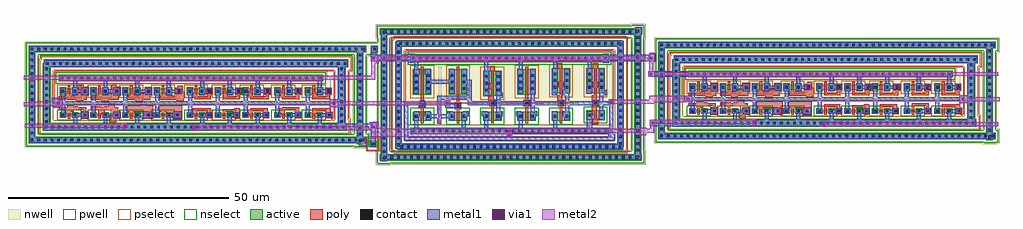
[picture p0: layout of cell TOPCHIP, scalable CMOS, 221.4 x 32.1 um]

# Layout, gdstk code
import gdstk
lib = gdstk.Library(unit=1e-6, precision=1e-09)
def R(c, l, rs):  # rectangles x0, y0, x1, y1
    for r in rs: c.add(gdstk.rectangle(r[:2], r[2:], *l))
def A(c, l, x, y, w, h, nx, ny, dx, dy):  # array of equal rectangles
    R(c, l, [(x+i*dx, y+j*dy, x+i*dx+w, y+j*dy+h) for i in range(nx) for j in range(ny)])
contact = (25, 0)
pwell = (41, 0)
nwell = (42, 0)
active = (43, 0)
pselect = (44, 0)
nselect = (45, 0)
poly = (46, 0)
metal1 = (49, 0)
via1 = (50, 0)
metal2 = (51, 0)

iopad = lib.new_cell('IOPAD')
A(iopad, contact, 48.3, -10.35, 0.6, 0.6, 1, 14, 0, 1.5)
A(iopad, contact, -26.1, -10.2, 0.6, 0.6, 51, 2, 1.5, 20.7)
A(iopad, contact, -26.1, -10.05, 0.6, 0.6, 1, 14, 0, 1.5)
A(iopad, contact, -22.95, -7.2, 0.6, 0.6, 46, 1, 1.5, 0)
A(iopad, contact, -22.8, -6, 0.6, 0.6, 1, 9, 0, 1.5)
A(iopad, contact, 44.1, -6, 0.6, 0.6, 1, 9, 0, 1.5)
A(iopad, contact, 25.05, 0.9, 0.6, 0.6, 3, 1, 2.25, 0)
A(iopad, contact, -19.35, 3.9, 0.6, 0.6, 40, 1, 1.5, 0)
A(iopad, contact, -22.65, 7.2, 0.6, 0.6, 46, 1, 1.5, 0)
R(iopad, contact, [(-19.05,-4.5,-18.45,-3.9), (-16.35,-4.5,-15.75,-3.9), (-14.1,-4.5,-13.5,-3.9), (-12.15,-4.5,-11.55,-3.9), (-9.45,-4.5,-8.85,-3.9), (-6.9,-4.5,-6.3,-3.9), (-4.95,-4.5,-4.35,-3.9), (-2.25,-4.5,-1.65,-3.9), (0.3,-4.5,0.9,-3.9), (2.25,-4.5,2.85,-3.9), (4.95,-4.5,5.55,-3.9), (6.9,-4.5,7.5,-3.9), (9.75,-4.5,10.35,-3.9), (12.45,-4.5,13.05,-3.9), (14.1,-4.5,14.7,-3.9), (16.05,-4.5,16.65,-3.9), (18.75,-4.5,19.35,-3.9), (20.4,-4.5,21,-3.9), (22.35,-4.5,22.95,-3.9), (25.05,-4.5,25.65,-3.9), (27,-4.5,27.6,-3.9), (29.55,-4.5,30.15,-3.9), (32.25,-4.5,32.85,-3.9), (34.2,-4.5,34.8,-3.9), (36.45,-4.5,37.05,-3.9), (39.15,-4.5,39.75,-3.9), (41.4,-4.5,42,-3.9), (-19.05,0.9,-18.45,1.5), (-16.35,0.9,-15.75,1.5), (-14.1,0.9,-13.5,1.5), (-12.15,0.9,-11.55,1.5), (-9.45,0.9,-8.85,1.5), (-6.9,0.9,-6.3,1.5), (-4.95,0.9,-4.35,1.5), (-2.25,0.9,-1.65,1.5), (0.3,0.9,0.9,1.5), (2.25,0.9,2.85,1.5), (4.95,0.9,5.55,1.5), (7.2,0.9,7.8,1.5), (9.75,0.9,10.35,1.5), (12.45,0.9,13.05,1.5), (14.1,0.9,14.7,1.5), (16.05,0.9,16.65,1.5), (18.75,0.9,19.35,1.5), (20.7,0.9,21.3,1.5), (22.35,0.9,22.95,1.5), (32.25,0.9,32.85,1.5), (34.2,0.9,34.8,1.5), (36.45,0.9,37.05,1.5), (39.15,0.9,39.75,1.5), (41.1,0.9,41.7,1.5)])
A(iopad, pwell, -10.8, -7.5, 0.6, 3.6, 3, 1, 7.2, 0)
A(iopad, pwell, 11.1, -7.2, 0.6, 3.3, 3, 1, 6.3, 0)
A(iopad, pwell, -14.4, -6.6, 7.8, 4.8, 3, 1, 7.2, 0)
A(iopad, pwell, 7.5, -6.6, 7.8, 4.8, 3, 1, 6.3, 0)
R(iopad, pwell, [(-24.3,-8.7,46.5,-5.1), (-24.3,-7.8,-20.7,8.4), (42.6,-7.8,46.2,8.4), (-17.7,-7.5,-17.1,-3.9), (30.9,-7.2,31.5,-3.9), (37.8,-7.2,38.4,-3.9), (-21.3,-6.6,-13.5,-1.8), (27.3,-6.6,35.1,-1.8), (34.2,-6.6,42,-1.8), (-24,5.7,46.8,9.3)])
A(iopad, nwell, -14.4, -1.5, 7.8, 5.4, 3, 1, 7.2, 0)
A(iopad, nwell, 7.5, -1.5, 7.8, 5.4, 3, 1, 6.3, 0)
A(iopad, nwell, -10.8, 0.9, 0.6, 3.6, 3, 1, 7.2, 0)
A(iopad, nwell, 11.1, 0.9, 0.6, 3.6, 3, 1, 6.3, 0)
R(iopad, nwell, [(46.95,-11.7,50.25,11.1), (-27.45,-11.55,50.85,-8.25), (-27.45,-11.4,-24.15,11.4), (-21.3,-1.5,-13.5,3.9), (27.3,-1.5,35.1,3.9), (34.2,-1.5,42,3.9), (-17.7,0.9,-17.1,4.5), (30.9,0.9,31.5,4.5), (37.8,0.9,38.4,4.5), (-20.7,2.55,41.1,5.85), (-27.45,9.15,50.85,12.45)])
A(iopad, active, -11.7, -4.5, 2.4, 0.6, 3, 1, 7.2, 0)
A(iopad, active, 10.2, -4.5, 2.4, 0.6, 3, 1, 6.3, 0)
A(iopad, active, -11.7, 0.6, 2.4, 1.2, 3, 1, 7.2, 0)
A(iopad, active, 10.2, 0.6, 2.4, 1.2, 3, 1, 6.3, 0)
R(iopad, active, [(47.85,-10.8,49.35,10.2), (-26.55,-10.65,49.95,-9.15), (-26.55,-10.5,-25.05,10.5), (-23.4,-7.8,45.6,-6), (-23.4,-6.9,-21.6,7.5), (43.5,-6.9,45.3,7.5), (-19.5,-4.8,-18,-3.6), (-16.8,-4.8,-15.3,-3.6), (-12.6,-4.8,-11.1,-3.6), (-9.9,-4.8,-8.4,-3.6), (-5.4,-4.8,-3.9,-3.6), (-2.7,-4.8,-1.2,-3.6), (1.8,-4.8,3.3,-3.6), (4.5,-4.8,6,-3.6), (9.3,-4.8,10.8,-3.6), (12,-4.8,13.5,-3.6), (15.6,-4.8,17.1,-3.6), (18.3,-4.8,19.8,-3.6), (21.9,-4.8,23.4,-3.6), (24.6,-4.8,26.1,-3.6), (29.1,-4.8,30.6,-3.6), (31.8,-4.8,33.3,-3.6), (36,-4.8,37.5,-3.6), (38.7,-4.8,40.2,-3.6), (-18.6,-4.5,-16.2,-3.9), (30,-4.5,32.4,-3.9), (36.9,-4.5,39.3,-3.9), (-19.5,0.3,-18,2.1), (-16.8,0.3,-15.3,2.1), (-12.6,0.3,-11.1,2.1), (-9.9,0.3,-8.4,2.1), (-5.4,0.3,-3.9,2.1), (-2.7,0.3,-1.2,2.1), (1.8,0.3,3.3,2.1), (4.5,0.3,6,2.1), (9.3,0.3,10.8,2.1), (12,0.3,13.5,2.1), (15.6,0.3,17.1,2.1), (18.3,0.3,19.8,2.1), (21.9,0.3,23.4,2.1), (24.6,0.3,26.1,2.1), (29.1,0.3,30.6,2.1), (31.8,0.3,33.3,2.1), (36,0.3,37.5,2.1), (38.7,0.3,40.2,2.1), (-18.6,0.6,-16.2,1.8), (30,0.6,32.4,1.8), (36.9,0.6,39.3,1.8), (-19.8,3.45,40.2,4.95), (-23.1,6.6,45.9,8.4), (-26.55,10.05,49.95,11.55)])
A(iopad, pselect, -13.2, -0.3, 5.4, 3, 3, 1, 7.2, 0)
A(iopad, pselect, 8.7, -0.3, 5.4, 3, 3, 1, 6.3, 0)
R(iopad, pselect, [(-24,-8.4,46.2,-5.4), (-24,-7.5,-21,8.1), (42.9,-7.5,45.9,8.1), (-20.1,-0.3,-14.7,2.7), (28.5,-0.3,33.9,2.7), (35.4,-0.3,40.8,2.7), (-23.7,6,46.5,9)])
A(iopad, nselect, -13.2, -5.4, 5.4, 2.4, 3, 1, 7.2, 0)
A(iopad, nselect, 8.7, -5.4, 5.4, 2.4, 3, 1, 6.3, 0)
R(iopad, nselect, [(47.25,-11.4,49.95,10.8), (-27.15,-11.25,50.55,-8.55), (-27.15,-11.1,-24.45,11.1), (-20.1,-5.4,-14.7,-3), (28.5,-5.4,33.9,-3), (35.4,-5.4,40.8,-3), (-20.4,2.85,40.8,5.55), (-27.15,9.45,50.55,12.15)])
A(iopad, poly, -10.8, -5.1, 0.6, 1.8, 3, 1, 7.2, 0)
A(iopad, poly, 11.1, -5.1, 0.6, 1.8, 3, 1, 6.3, 0)
A(iopad, poly, 26.55, -4.95, 1.5, 1.5, 3, 1, 7.2, 0)
A(iopad, poly, 27, -4.8, 0.6, 0.9, 3, 1, 7.2, 0)
A(iopad, poly, -10.8, -3.45, 0.6, 1.05, 3, 2, 7.2, 2.85)
A(iopad, poly, 11.1, -0.6, 0.6, 1.05, 3, 1, 6.3, 0)
A(iopad, poly, -10.8, 0, 0.6, 2.4, 3, 1, 7.2, 0)
A(iopad, poly, 11.1, 0, 0.6, 2.4, 3, 1, 6.3, 0)
A(iopad, poly, 13.65, 0.45, 1.5, 1.5, 3, 1, 6.6, 0)
R(iopad, poly, [(-8.25,-5.85,-6.75,-4.35), (6.15,-5.25,8.25,-3.15), (-17.7,-5.1,-17.1,-3.3), (-14.7,-5.1,-12.9,-3.3), (-7.5,-5.1,-5.7,-3.3), (-0.45,-5.1,1.65,-3.3), (20.4,-5.1,21,-2.85), (20.4,-5.1,21,-3.9), (30.9,-5.1,31.5,-3.3), (37.8,-5.1,38.4,-3.3), (13.65,-4.95,15.15,-3.45), (19.95,-4.95,21.45,-3.45), (-14.1,-4.8,-13.5,-2.4), (-14.1,-4.8,-13.5,-3.9), (14.1,-4.8,14.7,-2.7), (14.1,-4.8,14.7,-3.9), (27,-4.8,27.6,-2.7), (34.2,-4.8,34.8,-2.4), (41.4,-4.8,42,-2.7), (-6.9,-4.5,-6.3,-2.4), (0.6,-4.5,1.2,-2.4), (7.2,-4.5,7.8,-2.4), (20.1,-3.9,21.3,-2.7), (-17.85,-3.45,-16.35,-1.95), (-17.7,-3.45,-17.1,-2.4), (-4.05,-3.45,1.65,-1.95), (-1.8,-3.45,0,-2.55), (3.15,-3.45,8.25,-1.95), (5.7,-3.45,7.5,-2.55), (11.1,-3.45,11.7,-2.7), (17.4,-3.45,21,-2.85), (23.7,-3.45,24.3,-2.7), (30.9,-3.45,31.5,-2.4), (37.8,-3.45,38.4,-2.7), (11.1,-3.3,14.7,-2.7), (23.7,-3.3,27.6,-2.7), (37.8,-3.3,42,-2.7), (-17.1,-3.15,-15.3,-2.25), (-12.45,-3.15,-10.05,-2.25), (-9.6,-3.15,-7.8,-2.25), (-8.55,-3.15,-7.05,-1.65), (-4.65,-3.15,-2.85,-2.25), (2.85,-3.15,4.35,-2.25), (-19.8,-3,-17.1,-2.4), (-19.8,-3,-13.5,-2.4), (-10.8,-3,-6.3,-2.4), (30.9,-3,34.8,-2.4), (-10.05,-1.35,-8.55,0.15), (-2.25,-1.35,-0.75,0.15), (-15.75,-1.05,-14.25,0.45), (7.05,-1.05,8.55,0.45), (-17.85,-0.75,-13.35,0.15), (-16.8,-0.75,-15,0.15), (-12.45,-0.75,-10.05,0.15), (-10.95,-0.75,-6.15,0.15), (-8.85,-0.75,-7.35,0.75), (-8.7,-0.75,-6.9,0.15), (-4.35,-0.75,-2.85,0.15), (-3.75,-0.75,1.05,0.15), (-1.5,-0.75,0.3,0.15), (-1.35,-0.75,0.15,0.75), (3.15,-0.75,4.35,0.15), (3.45,-0.75,7.95,0.15), (6,-0.75,7.8,0.15), (-19.8,-0.6,-17.1,0), (-17.7,-0.6,-17.1,0.45), (-14.1,-0.6,-13.5,1.5), (-6.9,-0.6,-6.3,1.8), (0.3,-0.6,0.9,1.2), (7.2,-0.6,7.8,1.5), (11.1,-0.6,14.7,0), (14.1,-0.6,14.7,1.5), (17.4,-0.6,21.3,0), (20.7,-0.6,21.3,1.2), (23.7,-0.6,27.9,0), (27.3,-0.6,27.9,1.5), (30.9,-0.6,31.5,0.45), (30.9,-0.6,34.8,0), (34.2,-0.6,34.8,1.8), (37.8,-0.6,38.4,0.45), (37.8,-0.6,41.7,0), (41.1,-0.6,41.7,1.5), (-15.45,-0.45,-13.95,1.05), (7.35,-0.45,8.85,1.05), (7.2,-0.3,8.4,0.9), (-17.7,0,-17.1,2.4), (30.9,0,31.5,2.4), (37.8,0,38.4,2.4), (-14.7,0.15,-12.9,2.25), (-7.5,0.15,-5.7,2.25), (-0.3,0.3,1.5,2.1), (6.6,0.45,8.4,1.95), (33.75,0.45,35.25,1.95), (40.65,0.45,42.15,1.95), (20.7,0.6,21.3,1.5), (-6.9,0.9,-6.3,1.8), (14.1,0.9,14.7,1.8), (34.2,0.9,34.8,1.8), (41.1,0.9,41.7,1.8), (7.2,1.2,8.4,2.4)])
A(iopad, metal1, -9.6, -7.65, 0.9, 3.9, 3, 2, 7.2, 8.4)
A(iopad, metal1, 12.3, -7.35, 0.9, 3.6, 3, 1, 6.3, 0)
A(iopad, metal1, 26.7, -4.8, 1.2, 1.2, 3, 1, 7.2, 0)
A(iopad, metal1, -12.3, -4.65, 0.9, 3.6, 3, 2, 7.2, 2.7)
A(iopad, metal1, 9.6, -4.65, 0.9, 3.6, 3, 2, 6.3, 2.7)
A(iopad, metal1, 13.8, 0.6, 1.2, 1.2, 3, 1, 6.6, 0)
A(iopad, metal1, 12.3, 0.75, 0.9, 3.9, 3, 1, 6.3, 0)
R(iopad, metal1, [(48,-10.65,49.2,10.05), (-26.4,-10.5,49.8,-9.3), (-26.4,-10.35,-25.2,10.35), (-26.25,-10.35,-25.35,-9.45), (48.15,-10.35,49.05,-9.45), (-23.1,-7.8,-21.9,0.9), (-23.1,-7.8,-21.9,0.9), (10.5,-7.8,11.7,-6.6), (-23.25,-7.65,45.45,-6.15), (-16.5,-7.65,-15.6,-3.75), (-5.25,-7.65,-4.35,-6.15), (-5.25,-7.65,-4.35,-6.15), (10.65,-7.65,11.55,-6.75), (43.8,-7.5,45,0.9), (32.1,-7.35,33,-3.75), (39,-7.35,39.9,-3.75), (-5.4,-7.2,-4.2,-6), (-5.4,-7.2,-4.2,-6), (-23.25,-6.75,-21.75,7.35), (43.65,-6.75,45.15,7.35), (-0.9,-5.1,0.3,-3.9), (6.3,-5.1,8.1,-3.3), (-14.55,-4.95,-13.05,-3.45), (-7.35,-4.95,-5.85,-3.45), (-0.3,-4.95,1.5,-3.45), (13.8,-4.8,15,-3.6), (20.1,-4.8,21.3,-3.6), (-19.35,-4.65,-18.15,-3.75), (-19.2,-4.65,-18.3,-1.05), (-16.65,-4.65,-15.45,-3.75), (-16.5,-4.65,-13.35,-3.75), (-12.45,-4.65,-11.25,-3.75), (-9.75,-4.65,-8.55,-3.75), (-5.25,-4.65,-4.05,-3.75), (-2.55,-4.65,-1.35,-3.75), (-2.4,-4.65,1.35,-3.75), (1.95,-4.65,3.15,-3.75), (4.65,-4.65,5.85,-3.75), (4.8,-4.65,7.95,-3.75), (9.45,-4.65,10.65,-3.75), (12.15,-4.65,13.35,-3.75), (12.3,-4.65,14.85,-3.75), (15.75,-4.65,16.95,-3.75), (18.45,-4.65,19.65,-3.75), (18.6,-4.65,21.15,-3.75), (22.05,-4.65,23.25,-3.75), (24.75,-4.65,25.95,-3.75), (24.9,-4.65,27.75,-3.75), (29.25,-4.65,30.45,-3.75), (29.4,-4.65,30.3,-1.05), (31.95,-4.65,33.15,-3.75), (32.1,-4.65,34.95,-3.75), (36.15,-4.65,37.35,-3.75), (36.3,-4.65,37.2,-1.05), (38.85,-4.65,40.05,-3.75), (39,-4.65,42.15,-3.75), (-9.45,-4.5,-6.3,-3.9), (-0.9,-4.5,0.3,-3.3), (41.7,-2.4,43.5,-0.6), (-20.7,-2.25,-18.9,-0.75), (-20.25,-1.95,-18.3,-1.05), (-20.25,-1.95,-19.35,-1.05), (-19.2,-1.95,-18.3,1.65), (-19.2,-1.95,-11.4,-1.05), (-12.3,-1.95,-4.2,-1.05), (-5.1,-1.95,2.25,-1.05), (1.35,-1.95,3,-1.05), (2.1,-1.95,6.45,-1.05), (5.55,-1.95,10.5,-1.05), (9.6,-1.95,16.8,-1.05), (15.9,-1.95,23.1,-1.05), (22.2,-1.95,30.3,-1.05), (29.4,-1.95,30.3,1.65), (29.4,-1.95,37.2,-1.05), (36.3,-1.95,37.2,1.65), (36.3,-1.95,43.05,-1.05), (48,-0.9,49.2,11.4), (-26.4,-0.6,-25.2,11.4), (-23.1,-0.3,-21.9,8.1), (-23.1,-0.3,-21.9,8.1), (43.8,-0.3,45,8.1), (-14.55,0.3,-13.05,2.1), (-7.35,0.3,-5.85,2.1), (-19.35,0.45,-18.15,1.95), (-16.65,0.45,-15.45,1.95), (-12.45,0.45,-11.25,1.95), (-9.75,0.45,-8.55,1.95), (-5.25,0.45,-4.05,1.95), (-2.55,0.45,-1.35,1.95), (-0.15,0.45,1.35,1.95), (1.95,0.45,3.15,1.95), (4.65,0.45,5.85,1.95), (9.45,0.45,10.65,1.95), (12.15,0.45,13.35,1.95), (15.75,0.45,16.95,1.95), (18.45,0.45,19.65,1.95), (22.05,0.45,23.25,1.95), (24.75,0.45,25.95,1.95), (29.25,0.45,30.45,1.95), (31.95,0.45,33.15,1.95), (36.15,0.45,37.35,1.95), (38.85,0.45,40.05,1.95), (6.75,0.6,8.25,1.8), (33.9,0.6,35.1,1.8), (40.8,0.6,42,1.8), (-16.5,0.75,-15.6,4.65), (-16.5,0.75,-13.35,1.65), (-9.6,0.75,-6.15,1.65), (12.3,0.75,14.85,1.65), (18.6,0.75,21.45,1.65), (32.1,0.75,33,4.65), (32.1,0.75,34.95,1.65), (39,0.75,39.9,4.65), (39,0.75,41.85,1.65), (-2.25,0.9,0.9,1.5), (4.95,0.9,7.8,1.5), (25.05,0.9,27.9,1.5), (-26.4,3.6,-25.2,4.8), (-26.4,3.6,-25.2,4.8), (-19.65,3.6,40.05,4.8), (-19.65,3.6,40.05,4.8), (-19.65,3.6,40.05,4.8), (-26.25,3.75,-25.35,4.65), (-26.25,3.75,-25.35,4.65), (9.75,3.75,10.65,4.65), (9.75,3.75,10.65,4.65), (-22.95,6.75,45.75,8.25), (-18.9,6.9,-8.7,8.1), (-26.4,10.2,49.8,11.4)])
R(iopad, via1, [(10.8,-7.5,11.4,-6.9), (-5.1,-6.9,-4.5,-6.3), (-5.1,-6.9,-4.5,-6.3), (-20.1,-1.8,-19.5,-1.2), (42.3,-1.8,42.9,-1.2), (-26.1,3.9,-25.5,4.5), (-26.1,3.9,-25.5,4.5), (-19.35,3.9,-18.75,4.5), (-19.35,3.9,-18.75,4.5), (-17.85,3.9,-17.25,4.5), (-17.85,3.9,-17.25,4.5), (-16.35,3.9,-15.75,4.5), (-16.35,3.9,-15.75,4.5), (-14.85,3.9,-14.25,4.5), (-14.85,3.9,-14.25,4.5), (-13.35,3.9,-12.75,4.5), (-13.35,3.9,-12.75,4.5), (-11.85,3.9,-11.25,4.5), (-11.85,3.9,-11.25,4.5), (-10.35,3.9,-9.75,4.5), (-10.35,3.9,-9.75,4.5), (-8.85,3.9,-8.25,4.5), (-8.85,3.9,-8.25,4.5), (-7.35,3.9,-6.75,4.5), (-7.35,3.9,-6.75,4.5), (-5.85,3.9,-5.25,4.5), (-5.85,3.9,-5.25,4.5), (-4.35,3.9,-3.75,4.5), (-4.35,3.9,-3.75,4.5), (-2.85,3.9,-2.25,4.5), (-2.85,3.9,-2.25,4.5), (-1.35,3.9,-0.75,4.5), (-1.35,3.9,-0.75,4.5), (0.15,3.9,0.75,4.5), (0.15,3.9,0.75,4.5), (1.65,3.9,2.25,4.5), (1.65,3.9,2.25,4.5), (3.15,3.9,3.75,4.5), (3.15,3.9,3.75,4.5), (4.65,3.9,5.25,4.5), (4.65,3.9,5.25,4.5), (6.15,3.9,6.75,4.5), (6.15,3.9,6.75,4.5), (7.65,3.9,8.25,4.5), (7.65,3.9,8.25,4.5), (9.15,3.9,9.75,4.5), (9.15,3.9,9.75,4.5), (10.65,3.9,11.25,4.5), (10.65,3.9,11.25,4.5), (12.15,3.9,12.75,4.5), (12.15,3.9,12.75,4.5), (13.65,3.9,14.25,4.5), (13.65,3.9,14.25,4.5), (15.15,3.9,15.75,4.5), (15.15,3.9,15.75,4.5), (16.65,3.9,17.25,4.5), (16.65,3.9,17.25,4.5), (18.15,3.9,18.75,4.5), (18.15,3.9,18.75,4.5), (19.65,3.9,20.25,4.5), (19.65,3.9,20.25,4.5), (21.15,3.9,21.75,4.5), (21.15,3.9,21.75,4.5), (22.65,3.9,23.25,4.5), (22.65,3.9,23.25,4.5), (24.15,3.9,24.75,4.5), (24.15,3.9,24.75,4.5), (25.65,3.9,26.25,4.5), (25.65,3.9,26.25,4.5), (27.15,3.9,27.75,4.5), (27.15,3.9,27.75,4.5), (28.65,3.9,29.25,4.5), (28.65,3.9,29.25,4.5), (30.15,3.9,30.75,4.5), (30.15,3.9,30.75,4.5), (31.65,3.9,32.25,4.5), (31.65,3.9,32.25,4.5), (33.15,3.9,33.75,4.5), (33.15,3.9,33.75,4.5), (34.65,3.9,35.25,4.5), (34.65,3.9,35.25,4.5), (36.15,3.9,36.75,4.5), (36.15,3.9,36.75,4.5), (37.65,3.9,38.25,4.5), (37.65,3.9,38.25,4.5), (39.15,3.9,39.75,4.5), (39.15,3.9,39.75,4.5)])
R(iopad, metal2, [(10.5,-7.8,11.7,-6.6), (10.65,-7.65,50.55,-6.75), (49.65,-7.65,50.55,-6.75), (-5.4,-7.2,-4.2,-6), (-5.4,-7.2,-4.2,-6), (-27.45,-7.05,-26.55,-6.15), (-27.45,-7.05,-4.35,-6.15), (41.7,-2.4,43.5,-0.6), (-20.7,-2.25,-18.9,-0.75), (-24.75,-1.95,-23.85,-1.05), (-24.75,-1.95,-19.35,-1.05), (-26.4,3.6,-25.2,4.8), (-26.4,3.6,-25.2,4.8), (-19.65,3.6,40.05,4.8), (-19.65,3.6,40.05,4.8), (-27.75,3.75,-26.85,4.65), (-27.75,3.75,-25.35,4.65), (-26.25,3.75,-20.25,4.65), (-21.15,3.75,-20.25,4.65), (-21.15,3.75,10.65,4.65), (9.75,3.75,50.55,4.65), (49.65,3.75,50.55,4.65)])

ring = lib.new_cell('RING')
A(ring, contact, -36.6, -15.75, 0.6, 0.6, 1, 20, 0, 1.5)
A(ring, contact, -36.3, -15.6, 0.6, 0.6, 39, 2, 1.5, 28.5)
A(ring, contact, 21, -15.45, 0.6, 0.6, 1, 20, 0, 1.5)
A(ring, contact, -32.55, -13.2, 0.6, 0.6, 34, 1, 1.5, 0)
A(ring, contact, -33.3, -12.75, 0.6, 0.6, 1, 16, 0, 1.5)
A(ring, contact, 17.1, -12.45, 0.6, 0.6, 1, 16, 0, 1.5)
A(ring, contact, -29.85, -9.6, 0.6, 0.6, 30, 2, 1.5, 16.5)
A(ring, contact, -12, -3.3, 0.6, 0.6, 4, 1, 7.8, 0)
A(ring, contact, -13.35, -0.3, 0.6, 0.6, 1, 3, 0, 1.5)
A(ring, contact, -10.65, -0.3, 0.6, 0.6, 1, 3, 0, 1.5)
A(ring, contact, -29.25, 0, 0.6, 0.6, 1, 3, 0, 1.5)
A(ring, contact, -26.55, 0, 0.6, 0.6, 1, 3, 0, 1.5)
A(ring, contact, -21.15, 0, 0.6, 0.6, 1, 3, 0, 1.5)
A(ring, contact, -18.45, 0, 0.6, 0.6, 1, 3, 0, 1.5)
A(ring, contact, -5.55, 0, 0.6, 0.6, 1, 3, 0, 1.5)
A(ring, contact, -2.85, 0, 0.6, 0.6, 1, 3, 0, 1.5)
A(ring, contact, 2.25, 0.3, 0.6, 0.6, 1, 3, 0, 1.5)
A(ring, contact, 4.95, 0.3, 0.6, 0.6, 1, 3, 0, 1.5)
A(ring, contact, 10.05, 0.3, 0.6, 0.6, 1, 3, 0, 1.5)
A(ring, contact, 12.75, 0.3, 0.6, 0.6, 1, 3, 0, 1.5)
A(ring, contact, -32.85, 10.2, 0.6, 0.6, 34, 1, 1.5, 0)
R(ring, contact, [(-29.25,-6.3,-28.65,-5.7), (-26.55,-6.3,-25.95,-5.7), (-21.15,-6.3,-20.55,-5.7), (-18.45,-6.3,-17.85,-5.7), (-13.35,-6.3,-12.75,-5.7), (-10.65,-6.3,-10.05,-5.7), (-5.55,-6.3,-4.95,-5.7), (-2.85,-6.3,-2.25,-5.7), (2.25,-6.3,2.85,-5.7), (4.95,-6.3,5.55,-5.7), (10.05,-6,10.65,-5.4), (12.75,-6,13.35,-5.4), (-19.8,-3.9,-19.2,-3.3), (-27.9,-3.6,-27.3,-3)])
A(ring, pwell, -19.8, -9.6, 0.6, 3.9, 4, 1, 7.8, 0)
A(ring, pwell, -23.4, -9.124, 7.8, 6.248, 4, 1, 7.8, 0)
R(ring, pwell, [(-33.9,-14.55,18.9,-11.25), (-34.65,-14.1,-31.35,11.7), (15.75,-13.8,19.05,12), (-31.2,-10.95,15.6,-7.65), (-27.9,-9.6,-27.3,-5.7), (-27.9,-9.6,-27.3,-5.7), (11.4,-9.6,12,-5.4), (-31.5,-9.125,-23.7,-2.875), (7.8,-8.824,15.6,-2.576), (-34.2,8.85,18.6,12.15)])
R(ring, nwell, [(-37.95,-17.1,-34.65,14.7), (-38.1,-16.95,23.1,-13.65), (19.65,-16.8,22.95,15), (-15.6,-3.45,-7.8,6.45), (-31.5,-3.15,-23.7,6.75), (-23.4,-3.15,-15.6,6.75), (-7.8,-3.15,0,6.75), (0,-2.85,7.8,7.05), (7.8,-2.85,15.6,7.05), (-12,1.2,-11.4,7.8), (-27.9,1.5,-27.3,7.8), (-19.8,1.5,-19.2,7.8), (-4.2,1.5,-3.6,7.8), (3.6,1.8,4.2,7.8), (11.4,1.8,12,7.8), (-31.2,5.4,15.6,9), (-38.1,11.55,23.1,14.85)])
A(ring, active, -20.7, -7.024, 2.4, 2.049, 4, 1, 7.8, 0)
R(ring, active, [(-37.05,-16.2,-35.55,13.8), (-37.2,-16.05,22.2,-14.55), (20.55,-15.9,22.05,14.1), (-33,-13.65,18,-12.15), (-33.75,-13.2,-32.25,10.8), (16.65,-12.9,18.15,11.1), (-30.3,-10.05,14.7,-8.55), (-29.7,-7.025,-28.2,-4.975), (-28.8,-7.025,-26.4,-4.975), (-27,-7.025,-25.5,-4.975), (-21.6,-7.024,-20.1,-4.975), (-18.9,-7.024,-17.4,-4.975), (-13.8,-7.024,-12.3,-4.975), (-11.1,-7.024,-9.6,-4.975), (-6,-7.024,-4.5,-4.975), (-3.3,-7.024,-1.8,-4.975), (1.8,-7.024,3.3,-4.975), (4.5,-7.024,6,-4.975), (9.6,-6.724,11.1,-4.675), (10.5,-6.724,12.9,-4.675), (12.3,-6.724,13.8,-4.675), (-13.8,-1.35,-12.3,4.35), (-12.9,-1.35,-10.5,4.35), (-11.1,-1.35,-9.6,4.35), (-29.7,-1.05,-28.2,4.65), (-28.8,-1.05,-26.4,4.65), (-27,-1.05,-25.5,4.65), (-21.6,-1.05,-20.1,4.65), (-20.7,-1.05,-18.3,4.65), (-18.9,-1.05,-17.4,4.65), (-6,-1.05,-4.5,4.65), (-5.1,-1.05,-2.7,4.65), (-3.3,-1.05,-1.8,4.65), (1.8,-0.75,3.3,4.95), (2.7,-0.75,5.1,4.95), (4.5,-0.75,6,4.95), (9.6,-0.75,11.1,4.95), (10.5,-0.75,12.9,4.95), (12.3,-0.75,13.8,4.95), (-30.3,6.3,14.7,8.1), (-33.3,9.75,17.7,11.25), (-37.2,12.45,22.2,13.95)])
R(ring, pselect, [(-33.6,-14.25,18.6,-11.55), (-34.35,-13.8,-31.65,11.4), (16.05,-13.5,18.75,11.7), (-30.9,-10.65,15.3,-7.95), (-14.4,-2.25,-9,5.25), (-30.3,-1.95,-24.9,5.55), (-22.2,-1.95,-16.8,5.55), (-6.6,-1.95,-1.2,5.55), (1.2,-1.65,6.6,5.85), (9,-1.65,14.4,5.85), (-33.9,9.15,18.3,11.85)])
A(ring, nselect, -22.2, -7.924, 5.4, 3.848, 4, 1, 7.8, 0)
R(ring, nselect, [(-37.65,-16.8,-34.95,14.4), (-37.8,-16.65,22.8,-13.95), (19.95,-16.5,22.65,14.7), (-30.3,-7.925,-24.9,-4.075), (9,-7.624,14.4,-3.776), (-30.9,5.7,15.3,8.7), (-37.8,11.85,22.8,14.55)])
A(ring, poly, -19.8, -7.624, 0.6, 3.249, 4, 1, 7.8, 0)
A(ring, poly, -12, -5.25, 0.6, 2.55, 3, 1, 7.8, 0)
A(ring, poly, -12.45, -3.75, 1.5, 1.5, 4, 1, 7.8, 0)
R(ring, poly, [(-27.9,-7.625,-27.3,-4.375), (11.4,-7.324,12,-4.076), (-27.9,-5.25,-27.3,-3), (-19.8,-5.25,-19.2,-3.3), (11.4,-4.95,12,-2.7), (-20.25,-4.35,-18.75,-2.85), (-28.35,-4.05,-26.85,-2.55), (-19.8,-3.9,-19.2,1.05), (10.95,-3.75,12.45,-2.25), (-27.9,-3.6,-27.3,1.05), (-12,-3.3,-11.4,0.75), (-4.2,-3.3,-3.6,1.05), (3.6,-3.3,4.2,1.35), (11.4,-3.3,12,1.35), (-12,-1.95,-11.4,4.95), (-27.9,-1.65,-27.3,5.25), (-19.8,-1.65,-19.2,5.25), (-4.2,-1.65,-3.6,5.25), (3.6,-1.35,4.2,5.55), (11.4,-1.35,12,5.55)])
A(ring, metal1, -13.5, -9.75, 0.9, 4.2, 3, 1, 7.8, 0)
A(ring, metal1, -10.8, -6.45, 0.9, 3.9, 3, 1, 7.8, 0)
A(ring, metal1, -12.3, -3.6, 1.2, 1.2, 4, 1, 7.8, 0)
A(ring, metal1, -10.8, -3.45, 7.35, 0.9, 3, 1, 7.8, 0)
R(ring, metal1, [(-36.9,-16.05,-35.7,13.65), (-37.05,-15.9,22.05,-14.7), (-36.75,-15.75,-35.85,-14.85), (20.7,-15.75,21.9,13.95), (20.85,-15.75,21.75,-14.85), (-33.6,-13.5,-32.4,-0.6), (-33.6,-13.5,-6.9,-12.3), (-32.85,-13.5,17.85,-12.3), (16.8,-13.5,18,-0.3), (-33.6,-13.05,-32.4,10.65), (16.8,-12.75,18,10.95), (-31.65,-11.55,-30.75,-2.55), (-31.65,-11.55,15.75,-10.65), (14.55,-11.55,16.05,-10.05), (14.85,-11.55,15.75,-2.55), (-33.45,-10.05,-32.55,-8.55), (-30.15,-9.9,14.55,-8.7), (-8.4,-9.9,-7.2,-8.7), (-8.4,-9.9,-7.2,-8.7), (9.75,-9.9,10.95,-5.1), (16.8,-9.9,18,-8.7), (-29.4,-9.75,-28.5,-5.55), (-18.6,-9.75,-17.7,-5.55), (-8.25,-9.75,-7.35,-8.85), (-8.25,-9.75,-7.35,-8.85), (16.95,-9.75,17.85,-8.85), (-33.6,-9.6,-32.4,-8.4), (-24.15,-7.65,-23.25,-1.35), (-24.15,-7.65,-23.25,-5.55), (-24.15,-7.65,-23.25,-5.55), (12.6,-6.9,13.8,-5.7), (-29.55,-6.875,-28.35,-5.125), (-26.85,-6.875,-25.65,-5.125), (-21.45,-6.874,-20.25,-5.125), (-18.75,-6.874,-17.55,-5.125), (-13.65,-6.874,-12.45,-5.125), (-10.95,-6.874,-9.75,-5.125), (-5.85,-6.874,-4.65,-5.125), (-3.15,-6.874,-1.95,-5.125), (1.95,-6.874,3.15,-5.125), (4.65,-6.874,5.85,-5.125), (9.75,-6.574,10.95,-4.825), (12.45,-6.574,13.65,-4.825), (-26.7,-6.45,-23.25,-5.55), (-24.15,-6.45,-20.4,-5.55), (12.6,-6.15,13.5,-2.55), (-29.4,-6,-28.2,-4.8), (-27,-6,-25.8,-4.8), (-21.9,-6,-20.7,-4.8), (-18.3,-6,-17.1,-4.8), (-14.1,-6,-12.9,-4.8), (-10.5,-6,-9.3,-4.8), (-6.3,-6,-5.1,-4.8), (-2.7,-6,-1.5,-4.8), (1.8,-6,3,-4.8), (4.2,-6,5.4,-4.8), (-20.1,-4.2,-18.9,-3), (-22.35,-4.05,-19.05,-3.15), (-28.2,-3.9,-27,-2.7), (-28.2,-3.9,-27,-2.4), (-31.65,-3.45,-27.15,-2.55), (-17.25,-3.45,-16.35,-1.35), (-17.25,-3.45,-11.25,-2.55), (-10.8,-3.45,-9.9,1.95), (-3,-3.45,-2.1,2.25), (4.8,-3.45,5.7,2.55), (12.6,-3.45,13.5,2.55), (12.6,-3.45,15.75,-2.55), (-24.15,-2.25,-16.35,-1.35), (-17.25,-2.25,-16.35,2.25), (-33.6,-1.8,-32.4,11.1), (-10.5,-1.8,-9.3,-0.6), (-13.8,-1.5,-12.6,-0.3), (20.7,-1.5,21.9,7.5), (-13.65,-1.2,-12.45,4.2), (-10.95,-1.2,-9.75,4.2), (1.8,-1.2,3,0), (4.2,-1.2,5.4,0), (12.9,-1.2,14.1,0), (-29.55,-0.9,-28.35,4.5), (-26.85,-0.9,-25.65,4.5), (-21.45,-0.9,-20.25,4.5), (-18.75,-0.9,-17.55,4.5), (-5.85,-0.9,-4.65,4.5), (-3.15,-0.9,-1.95,4.5), (9.6,-0.9,10.8,0.3), (1.95,-0.6,3.15,4.8), (4.65,-0.6,5.85,4.8), (9.75,-0.6,10.95,4.8), (12.45,-0.6,13.65,4.8), (-13.5,1.05,-12.6,7.95), (-29.4,1.35,-28.5,7.95), (-26.7,1.35,-20.4,2.25), (-18.6,1.35,-16.35,2.25), (-5.7,1.35,-4.8,7.95), (2.1,1.65,3,7.95), (9.9,1.65,10.8,7.95), (-29.4,3.6,-28.2,4.8), (-27,3.6,-25.8,4.8), (-21.6,3.6,-20.4,4.8), (-18.6,3.6,-17.4,4.8), (-6,3.6,-4.8,4.8), (-3,3.6,-1.8,4.8), (-30.75,6.15,-29.25,7.65), (13.35,6.15,14.85,7.65), (-30.15,6.45,14.55,7.95), (20.85,6.45,21.75,7.35), (-36.9,6.6,-35.7,7.8), (-30.15,6.6,14.55,7.8), (-30.15,6.6,14.55,7.8), (20.7,6.6,21.9,7.8), (-36.75,6.75,-35.85,7.65), (-30.75,6.75,-29.25,8.25), (-8.25,6.75,-7.35,7.65), (-8.25,6.75,-7.35,7.65), (13.35,6.75,14.85,8.25), (20.85,6.75,21.75,7.65), (-33.6,9.9,-7.2,11.1), (-33.15,9.9,17.55,11.1), (-8.4,9.9,18,11.1), (-37.05,12.6,22.05,13.8), (-36.75,12.75,-35.85,13.65), (20.85,12.75,21.75,13.65)])
R(ring, via1, [(-8.1,-9.6,-7.5,-9), (-8.1,-9.6,-7.5,-9), (17.1,-9.6,17.7,-9), (-33.3,-9.3,-32.7,-8.7), (-36.6,6.9,-36,7.5), (-29.85,6.9,-29.25,7.5), (-29.85,6.9,-29.25,7.5), (-28.35,6.9,-27.75,7.5), (-28.35,6.9,-27.75,7.5), (-26.85,6.9,-26.25,7.5), (-26.85,6.9,-26.25,7.5), (-25.35,6.9,-24.75,7.5), (-25.35,6.9,-24.75,7.5), (-23.85,6.9,-23.25,7.5), (-23.85,6.9,-23.25,7.5), (-22.35,6.9,-21.75,7.5), (-22.35,6.9,-21.75,7.5), (-20.85,6.9,-20.25,7.5), (-20.85,6.9,-20.25,7.5), (-19.35,6.9,-18.75,7.5), (-19.35,6.9,-18.75,7.5), (-17.85,6.9,-17.25,7.5), (-17.85,6.9,-17.25,7.5), (-16.35,6.9,-15.75,7.5), (-16.35,6.9,-15.75,7.5), (-14.85,6.9,-14.25,7.5), (-14.85,6.9,-14.25,7.5), (-13.35,6.9,-12.75,7.5), (-13.35,6.9,-12.75,7.5), (-11.85,6.9,-11.25,7.5), (-11.85,6.9,-11.25,7.5), (-10.35,6.9,-9.75,7.5), (-10.35,6.9,-9.75,7.5), (-8.85,6.9,-8.25,7.5), (-8.85,6.9,-8.25,7.5), (-7.35,6.9,-6.75,7.5), (-7.35,6.9,-6.75,7.5), (-5.85,6.9,-5.25,7.5), (-5.85,6.9,-5.25,7.5), (-4.35,6.9,-3.75,7.5), (-4.35,6.9,-3.75,7.5), (-2.85,6.9,-2.25,7.5), (-2.85,6.9,-2.25,7.5), (-1.35,6.9,-0.75,7.5), (-1.35,6.9,-0.75,7.5), (0.15,6.9,0.75,7.5), (0.15,6.9,0.75,7.5), (1.65,6.9,2.25,7.5), (1.65,6.9,2.25,7.5), (3.15,6.9,3.75,7.5), (3.15,6.9,3.75,7.5), (4.65,6.9,5.25,7.5), (4.65,6.9,5.25,7.5), (6.15,6.9,6.75,7.5), (6.15,6.9,6.75,7.5), (7.65,6.9,8.25,7.5), (7.65,6.9,8.25,7.5), (9.15,6.9,9.75,7.5), (9.15,6.9,9.75,7.5), (10.65,6.9,11.25,7.5), (10.65,6.9,11.25,7.5), (12.15,6.9,12.75,7.5), (12.15,6.9,12.75,7.5), (13.65,6.9,14.25,7.5), (13.65,6.9,14.25,7.5), (21,6.9,21.6,7.5)])
R(ring, metal2, [(21.75,-10.35,23.25,-8.85), (-37.95,-10.05,-36.45,-8.55), (21.75,-10.05,23.25,-8.55), (-8.4,-9.9,-7.2,-8.7), (-8.4,-9.9,-7.2,-8.7), (16.8,-9.9,18,-8.7), (-37.95,-9.75,-32.55,-8.85), (-33.45,-9.75,-7.35,-8.85), (-8.25,-9.75,17.85,-8.85), (16.95,-9.75,22.95,-8.85), (22.05,-9.75,22.95,-8.85), (-33.6,-9.6,-32.4,-8.4), (-37.95,-9.45,-37.05,-8.55), (-36.9,6.6,-35.7,7.8), (-30.15,6.6,14.55,7.8), (-30.15,6.6,14.55,7.8), (20.7,6.6,21.9,7.8), (-37.95,6.75,-37.05,7.65), (-37.95,6.75,-35.85,7.65), (-37.95,6.75,-7.35,7.65), (-8.25,6.75,19.95,7.65), (19.05,6.75,19.95,7.65), (19.05,6.75,21.75,7.65), (19.05,6.75,22.95,7.65)])

topchip = lib.new_cell('TOPCHIP')
R(topchip, contact, [(-33.6,-12.3,-33,-11.7), (-33.3,9.3,-32.7,9.9)])
R(topchip, pwell, [(-34.95,-13.65,-31.65,-10.35)])
R(topchip, nwell, [(-34.65,7.95,-31.35,11.25)])
R(topchip, active, [(-34.05,-12.75,-32.55,-11.25), (-33.75,8.85,-32.25,10.35)])
R(topchip, pselect, [(-34.65,-13.35,-31.95,-10.65)])
R(topchip, nselect, [(-34.35,8.25,-31.65,10.95)])
R(topchip, poly, [(16.5,-7.5,17.7,-6.3), (-85.2,-5.4,-84,-4.2), (-61.8,-5.4,-60.6,-4.2), (16.2,-5.4,17.4,-4.2), (-103.2,-5.1,-102,-3.9), (-95.4,-5.1,-94.2,-3.9), (-80.1,-5.1,-78.9,-3.9), (-74.4,-5.1,-73.2,-3.9), (-54.6,-5.1,-53.4,-3.9), (-47.1,-5.1,-45.9,-3.9), (-80.1,-4.5,-78.9,-3.3), (16.2,-4.5,17.4,-3.3), (-86.1,-4.2,-84.9,-3), (-7.2,-2.4,-6,-1.2), (8.4,-2.1,9.6,-0.9), (16.2,-2.1,17.4,-0.9), (-81.3,-1.5,-80.1,-0.3), (-74.4,-1.5,-73.2,-0.3), (-47.1,-1.5,-45.9,-0.3), (-103.2,-1.2,-102,0), (-95.1,-1.2,-93.9,0), (-88.5,-1.2,-87.3,0), (-67.5,-1.2,-66.3,0), (-61.8,-1.2,-60.6,0), (-54.6,-1.2,-53.4,0), (-100.2,0.3,-99,1.5), (-92.7,0.3,-91.5,1.5), (-7.2,0.6,-6,1.8), (8.7,0.9,9.9,2.1), (16.5,0.9,17.7,2.1), (-6.9,4.5,-5.7,5.7), (8.4,5.1,9.6,6.3), (16.5,5.1,17.7,6.3)])
R(topchip, metal1, [(-33.9,-12.6,-32.7,-11.4), (-33.9,-12.6,-32.7,-7.5), (-36.45,-12.45,-34.95,-10.95), (-3,-10.5,-1.8,-9.3), (-3,-10.5,-1.8,-8.4), (-3,-9.6,-1.8,-8.4), (-2.85,-9.45,-1.95,-8.55), (-74.55,-8.85,-33.3,-7.35), (-33.9,-8.85,-32.7,-7.35), (-34.05,-8.55,-32.55,-7.05), (29.4,-7.95,30.6,-6.45), (30,-7.95,69.75,-6.45), (-105.75,-3.75,-104.25,-2.25), (-16.95,-3.75,-16.05,-2.25), (-17.1,-3.3,-15.9,-2.1), (-106.05,-3.15,-104.55,-1.65), (20.25,-3.15,21.15,-1.95), (20.1,-3,21.3,-1.8), (-104.55,2.4,-44.85,3.6), (-75.15,2.55,-74.25,3.45), (29.1,3.3,30.3,4.5), (29.1,3.3,68.7,4.5), (-33.9,6.75,-32.7,8.25), (-33.3,6.75,-1.65,8.25), (-3.15,6.75,29.7,8.25), (29.1,6.75,30.3,8.25), (29.25,6.75,30.75,8.25), (-33.9,6.9,-32.7,10.2), (29.25,7.05,30.75,8.55), (-33.9,9,-32.4,10.2), (-33.6,9,-32.4,10.2), (26.25,13.05,27.75,14.55)])
A(topchip, via1, -104.25, 2.7, 0.6, 0.6, 40, 1, 1.5, 0)
R(topchip, via1, [(-2.7,-10.2,-2.1,-9.6), (-2.7,-9.3,-2.1,-8.7), (-33.6,-8.4,-33,-7.8), (29.7,-7.5,30.3,-6.9), (-16.8,-3,-16.2,-2.4), (20.4,-2.7,21,-2.1), (29.4,3.6,30,4.2), (-33.6,7.2,-33,7.8), (29.4,7.2,30,7.8)])
R(topchip, metal2, [(-3,-10.5,-1.8,-9.3), (-33.75,-10.35,-32.85,-9.45), (-33.75,-10.35,-1.95,-9.45), (-33.75,-10.35,-32.85,-7.65), (-3,-9.6,-1.8,-8.4), (-2.85,-9.45,30.45,-8.55), (29.55,-9.45,30.45,-8.55), (29.55,-9.45,30.45,-6.75), (-33.9,-8.85,-32.7,-7.35), (-33.3,-8.1,-32.1,-6.9), (29.4,-7.95,30.6,-6.45), (-112.65,-3.45,-111.75,-2.55), (-112.65,-3.45,-104.25,-2.55), (-17.1,-3.3,-15.9,-2.1), (-42.75,-3.15,-32.25,-2.25), (-33.15,-3.15,-32.25,-2.25), (-33.15,-3.15,-16.05,-2.25), (20.1,-3,21.3,-1.8), (20.25,-2.85,30.45,-1.95), (29.55,-2.85,30.45,-1.95), (29.55,-2.85,30.45,-1.35), (-106.2,-2.7,-105,-1.5), (29.25,-2.55,38.85,-1.05), (100.05,-2.25,108.75,-1.35), (107.85,-2.25,108.75,-1.35), (-104.55,2.4,-44.85,3.6), (-75.15,2.55,-32.85,3.45), (-33.75,2.55,-32.85,3.45), (-33.75,2.55,-32.85,7.95), (29.1,3.3,30.3,4.5), (29.25,3.45,30.15,5.85), (29.25,4.95,30.15,5.85), (29.25,4.95,30.15,7.95), (-33.3,6.3,-32.1,7.5), (29.4,6.6,30.6,7.8), (-33.9,6.75,-32.7,8.25), (29.1,6.75,30.3,8.25), (-33.6,7.5,-32.4,8.7), (29.4,7.5,30.6,8.7)])
topchip.add(gdstk.Reference(iopad, (57.9,-0.3)))
topchip.add(gdstk.Reference(iopad, (-84.9,-1.2)))
topchip.add(gdstk.Reference(ring, (5.4,0.3)))

lib.write_gds('TOPCHIP.gds')
